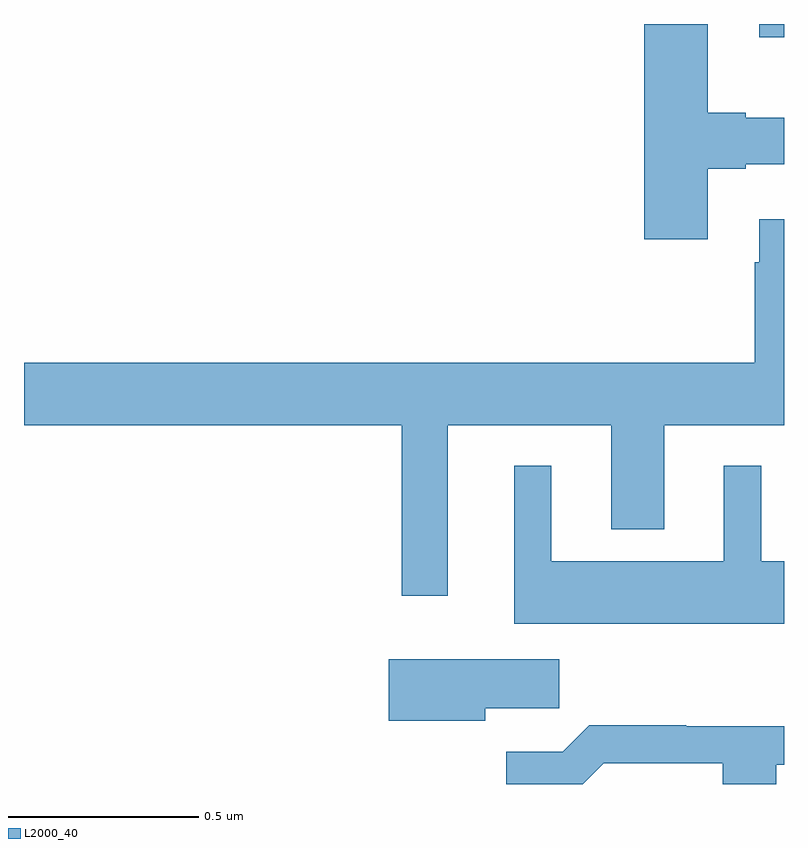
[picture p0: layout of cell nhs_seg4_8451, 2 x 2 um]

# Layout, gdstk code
import gdstk
lib = gdstk.Library(unit=1e-6, precision=1e-09)
def R(c, l, rs):  # rectangles x0, y0, x1, y1
    for r in rs: c.add(gdstk.rectangle(r[:2], r[2:], *l))
def P(c, l, *ps):  # polygons
    for p in ps: c.add(gdstk.Polygon(p, *l))
L2000_40 = (2000, 40)

nhs_seg4_8451 = lib.new_cell('nhs_seg4_8451')
R(nhs_seg4_8451, L2000_40, [(216.935,773.865,217,773.9)])
P(nhs_seg4_8451, L2000_40, [(216.799,773.519),(216.899,773.519),(216.899,773.531),(217,773.531),(217,773.653),(216.899,773.653),(216.899,773.666),(216.799,773.666),(216.799,773.9),(216.632,773.9),(216.632,773.334),(216.799,773.334)],
  [(216.115,772.844),(216.545,772.844),(216.545,772.571),(216.685,772.571),(216.685,772.844),(217,772.844),(217,773.386),(216.935,773.386),(216.935,773.273),(216.923,773.273),(216.923,773.008),(215,773.008),(215,772.844),(215.994,772.844),(215.994,772.395),(216.115,772.395)],
  [(217,772.486),(216.94,772.486),(216.94,772.738),(216.842,772.738),(216.842,772.486),(216.388,772.486),(216.388,772.738),(216.29,772.738),(216.29,772.322),(217,772.322)],
  [(216.214,772.099),(216.409,772.099),(216.409,772.228),(215.96,772.228),(215.96,772.067),(216.214,772.067)],
  [(216.525,771.954),(216.839,771.954),(216.839,771.9),(216.979,771.9),(216.979,771.951),(217,771.951),(217,772.052),(216.743,772.052),(216.743,772.055),(216.488,772.055),(216.418,771.985),(216.269,771.985),(216.269,771.9),(216.471,771.9)])

lib.write_gds('nhs_seg4_8451.gds')
